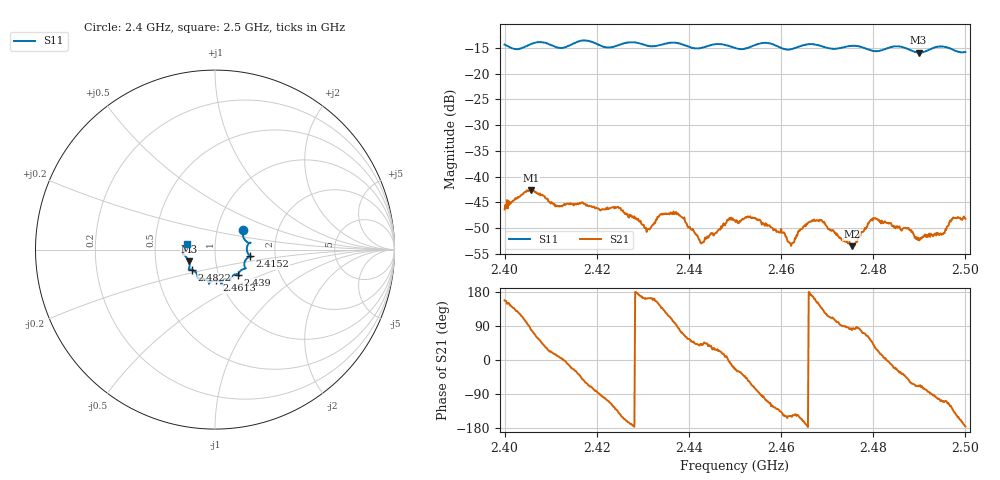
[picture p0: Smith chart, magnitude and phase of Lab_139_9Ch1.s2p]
# Hz S RI R 50
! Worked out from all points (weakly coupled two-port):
!   601 points, 2.4 GHz to 2.5 GHz, reference 50 ohm
!   highest |S21| = -42.60 dB at 2.4057 GHz (marker M1); lowest = -53.5 dB at 2.4753 GHz (marker M2)
!   lowest |S11| = -15.9 dB at 2.4898 GHz (marker M3), VSWR 1.38, Z = 37 - j5.03 ohm
!   |S11| at or under -10 dB: start of sweep to end of sweep
!   S12 and S22 are empty: the file has one direction only
!   S11 on the Smith chart (normalised r, x): 2.4 GHz: 1.33, +0.31; 2.4152 GHz: 1.48, -0.11; 2.439 GHz: 1.24, -0.36; 2.4613 GHz: 0.96, -0.34; 2.4822 GHz: 0.76, -0.17; 2.5 GHz: 0.72, +0.05
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2.4e9  0.1559 0.1108  -0.00441 0.00183  0 0  0 0
2.405667e9  0.189 0.0375  0.00115 0.00732  0 0  0 0
2.4115e9  0.1781 0.0134  0.00506 0.00096  0 0  0 0
2.415167e9  0.1947 -0.0362  0.00483 -0.00245  0 0  0 0
2.416667e9  0.2045 -0.0419  0.00381 -0.0041  0 0  0 0
2.424667e9  0.1643 -0.0928  -0.00379 -0.00339  0 0  0 0
2.431e9  0.148 -0.113  -0.00295 0.000916  0 0  0 0
2.433333e9  0.1325 -0.1327  -0.00344 0.00209  0 0  0 0
2.439e9  0.1278 -0.139  0.00169 0.00363  0 0  0 0
2.442833e9  0.0915 -0.1527  0.00176 0.00144  0 0  0 0
2.45e9  0.0686 -0.1634  0.00348 -0.00142  0 0  0 0
2.454833e9  0.0349 -0.1892  0.000608 -0.0038  0 0  0 0
2.461333e9  0.00775 -0.1709  -0.00214 -0.00108  0 0  0 0
2.462333e9  -0.00722 -0.1725  -0.00194 -0.00113  0 0  0 0
2.466667e9  -0.0336 -0.1903  -0.00364 0.000706  0 0  0 0
2.468833e9  -0.0354 -0.1807  -0.00276 0.00256  0 0  0 0
2.475333e9  -0.0928 -0.1613  0.000397 0.00207  0 0  0 0
2.479667e9  -0.1043 -0.1306  0.0025 0.00295  0 0  0 0
2.482167e9  -0.1283 -0.1118  0.00348 0.000484  0 0  0 0
2.483333e9  -0.1395 -0.1102  0.00348 -0.00028  0 0  0 0
2.489833e9  -0.1454 -0.0662  0.000956 -0.00236  0 0  0 0
2.5e9  -0.1585 0.0337  -0.00387 -0.000293  0 0  0 0
